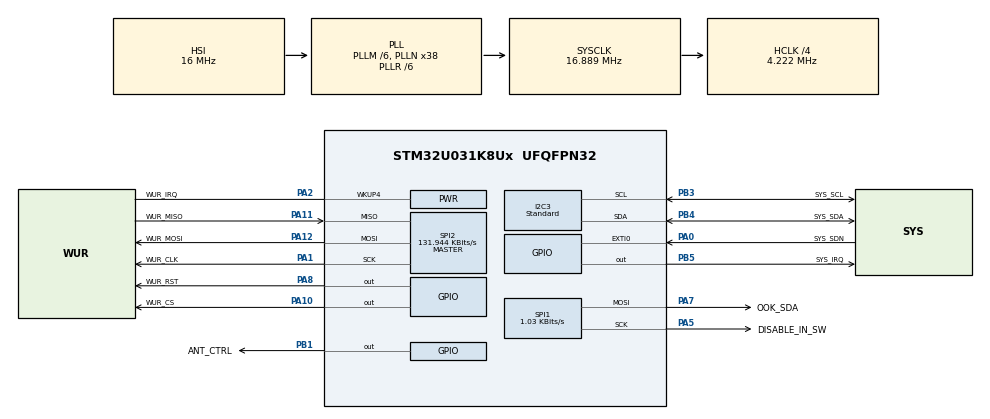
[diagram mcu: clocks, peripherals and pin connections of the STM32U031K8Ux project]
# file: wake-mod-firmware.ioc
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Dma.Request0=SPI2_TX
Dma.Request1=SPI2_RX
Dma.Request2=SPI1_TX
Dma.SPI1_TX.2.Direction=DMA_MEMORY_TO_PERIPH
Dma.SPI1_TX.2.EventEnable=DISABLE
Dma.SPI1_TX.2.Instance=DMA1_Channel1
Dma.SPI1_TX.2.MemDataAlignment=DMA_MDATAALIGN_BYTE
Dma.SPI1_TX.2.MemInc=DMA_MINC_ENABLE
Dma.SPI1_TX.2.Mode=DMA_NORMAL
Dma.SPI1_TX.2.PeriphDataAlignment=DMA_PDATAALIGN_BYTE
Dma.SPI1_TX.2.PeriphInc=DMA_PINC_DISABLE
Dma.SPI1_TX.2.Polarity=HAL_DMAMUX_REQ_GEN_RISING
Dma.SPI1_TX.2.Priority=DMA_PRIORITY_LOW
Dma.SPI1_TX.2.RequestNumber=1
Dma.SPI1_TX.2.SignalID=NONE
Dma.SPI1_TX.2.SyncEnable=DISABLE
Dma.SPI1_TX.2.SyncPolarity=HAL_DMAMUX_SYNC_NO_EVENT
Dma.SPI1_TX.2.SyncRequestNumber=1
Dma.SPI1_TX.2.SyncSignalID=NONE
Dma.SPI2_RX.1.Direction=DMA_PERIPH_TO_MEMORY
Dma.SPI2_RX.1.EventEnable=DISABLE
Dma.SPI2_RX.1.Instance=DMA1_Channel2
Dma.SPI2_RX.1.MemDataAlignment=DMA_MDATAALIGN_BYTE
Dma.SPI2_RX.1.MemInc=DMA_MINC_ENABLE
Dma.SPI2_RX.1.Mode=DMA_NORMAL
Dma.SPI2_RX.1.PeriphDataAlignment=DMA_PDATAALIGN_BYTE
Dma.SPI2_RX.1.PeriphInc=DMA_PINC_DISABLE
Dma.SPI2_RX.1.Polarity=HAL_DMAMUX_REQ_GEN_RISING
Dma.SPI2_RX.1.Priority=DMA_PRIORITY_LOW
Dma.SPI2_RX.1.RequestNumber=1
Dma.SPI2_RX.1.SignalID=NONE
Dma.SPI2_RX.1.SyncEnable=DISABLE
Dma.SPI2_RX.1.SyncPolarity=HAL_DMAMUX_SYNC_NO_EVENT
Dma.SPI2_RX.1.SyncRequestNumber=1
Dma.SPI2_RX.1.SyncSignalID=NONE
Dma.SPI2_TX.0.Direction=DMA_MEMORY_TO_PERIPH
Dma.SPI2_TX.0.EventEnable=DISABLE
Dma.SPI2_TX.0.Instance=DMA1_Channel3
Dma.SPI2_TX.0.MemDataAlignment=DMA_MDATAALIGN_BYTE
Dma.SPI2_TX.0.MemInc=DMA_MINC_ENABLE
Dma.SPI2_TX.0.Mode=DMA_NORMAL
Dma.SPI2_TX.0.PeriphDataAlignment=DMA_PDATAALIGN_BYTE
Dma.SPI2_TX.0.PeriphInc=DMA_PINC_DISABLE
Dma.SPI2_TX.0.Polarity=HAL_DMAMUX_REQ_GEN_RISING
Dma.SPI2_TX.0.Priority=DMA_PRIORITY_LOW
Dma.SPI2_TX.0.RequestNumber=1
Dma.SPI2_TX.0.SignalID=NONE
Dma.SPI2_TX.0.SyncEnable=DISABLE
Dma.SPI2_TX.0.SyncPolarity=HAL_DMAMUX_SYNC_NO_EVENT
Dma.SPI2_TX.0.SyncRequestNumber=1
Dma.SPI2_TX.0.SyncSignalID=NONE
I2C3.GeneralCallMode=I2C_GENERALCALL_DISABLE
I2C3.I2C_Speed_Mode=I2C_Standard
I2C3.NoStretchMode=I2C_NOSTRETCH_DISABLE
I2C3.OwnAddress=0x2E
I2C3.Speed=100
Mcu.Family=STM32U0
Mcu.Name=STM32U031K8Ux
Mcu.Package=UFQFPN32
NVIC.DMA1_Channel1_IRQn=true\:0\:0\:false\:false\:true\:false\:true\:true
NVIC.DMA1_Channel2_3_IRQn=true\:0\:0\:false\:false\:true\:false\:true\:true
NVIC.EXTI0_1_IRQn=true\:0\:0\:false\:false\:true\:true\:true\:true
NVIC.I2C2_3_IRQn=true\:0\:0\:true\:false\:true\:true\:true\:true
NVIC.PriorityGroup=NVIC_PRIORITYGROUP_2
NVIC.SPI1_IRQn=true\:0\:0\:true\:false\:true\:true\:true\:true
NVIC.SPI2_IRQn=true\:0\:0\:true\:false\:true\:true\:true\:true
PA0-CK_IN.GPIO_Label=SYS_SDN
PA0-CK_IN.Signal=GPXTI0
PA1.GPIO_Label=WUR_CLK
PA1.Mode=Full_Duplex_Master
PA1.Signal=SPI2_SCK
PA10.GPIO_Label=WUR_CS
PA10.GPIO_PuPd=GPIO_PULLUP
PA10.PinState=GPIO_PIN_SET
PA10.Signal=GPIO_Output
PA11\ [PA9].GPIO_Label=WUR_MISO
PA11\ [PA9].Mode=Full_Duplex_Master
PA11\ [PA9].Signal=SPI2_MISO
PA12\ [PA10].GPIO_Label=WUR_MOSI
PA12\ [PA10].Mode=Full_Duplex_Master
PA12\ [PA10].Signal=SPI2_MOSI
PA13\ (SWDIO).GPIO_Label=SWDIO
PA13\ (SWDIO).Mode=Serial_Wire
PA13\ (SWDIO).Signal=DEBUG_JTMS-SWDIO
PA14\ (SWCLK).GPIO_Label=SWCLK
PA14\ (SWCLK).Mode=Serial_Wire
PA14\ (SWCLK).Signal=DEBUG_JTCK-SWCLK
PA2.GPIO_Label=WUR_IRQ
PA2.Mode=WakeUp4
PA2.Signal=PWR_WKUP4
PA5.GPIO_Label=DISABLE_IN_SW
PA5.Mode=TX_Only_Simplex_Unidirect_Master
PA5.Signal=SPI1_SCK
PA7.GPIO_Label=OOK_SDA
PA7.Mode=TX_Only_Simplex_Unidirect_Master
PA7.Signal=SPI1_MOSI
PA8.GPIO_Label=WUR_RST
PA8.GPIO_PuPd=GPIO_PULLUP
PA8.PinState=GPIO_PIN_SET
PA8.Signal=GPIO_Output
PB1.GPIO_Label=ANT_CTRL
PB1.GPIO_PuPd=GPIO_PULLDOWN
PB1.PinState=GPIO_PIN_RESET
PB1.Signal=GPIO_Output
PB3.GPIO_Label=SYS_SCL
PB3.Mode=I2C
PB3.Signal=I2C3_SCL
PB4.GPIO_Label=SYS_SDA
PB4.Mode=I2C
PB4.Signal=I2C3_SDA
PB5.GPIO_Label=SYS_IRQ
PB5.GPIO_PuPd=GPIO_PULLDOWN
PB5.Signal=GPIO_Output
ProjectManager.HeapSize=0x200
ProjectManager.StackSize=0x400
ProjectManager.TargetToolchain=CMake
RCC.ADCFreq_Value=16888888.888888888
RCC.AHBCLKDivider=RCC_SYSCLK_DIV4
RCC.AHBFreq_Value=4222222.222222222
RCC.APB1CLKDivider=RCC_HCLK_DIV16
RCC.CortexFreq_Value=4222222.222222222
RCC.HCLKFreq_Value=4222222.222222222
RCC.HSE_VALUE=4000000
RCC.HSI48_VALUE=48000000
RCC.HSI_VALUE=16000000
RCC.LSE_VALUE=32768
RCC.MSI_VALUE=4000000
RCC.PLLM=RCC_PLLM_DIV6
RCC.PLLN=38
RCC.PLLR=RCC_PLLR_DIV6
RCC.SYSCLKFreq_VALUE=16888888.888888888
RCC.SYSCLKSource=RCC_SYSCLKSOURCE_PLLCLK
RCC.VCOOutputFreq_Value=101333333.33333333
SPI1.BaudRatePrescaler=SPI_BAUDRATEPRESCALER_256
SPI1.CalculateBaudRate=1.03 KBits/s
SPI1.DataSize=SPI_DATASIZE_8BIT
SPI1.Direction=SPI_DIRECTION_2LINES
SPI1.Mode=SPI_MODE_MASTER
SPI1.NSSPMode=SPI_NSS_PULSE_DISABLE
SPI1.VirtualType=VM_MASTER
SPI2.CalculateBaudRate=131.944 KBits/s
SPI2.DataSize=SPI_DATASIZE_8BIT
SPI2.Direction=SPI_DIRECTION_2LINES
SPI2.Mode=SPI_MODE_MASTER
SPI2.NSSPMode=SPI_NSS_PULSE_DISABLE
SPI2.VirtualType=VM_MASTER
VP_PWR_VS_SECSignals.Mode=Security/Privilege
board=custom

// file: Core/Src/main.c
/* USER CODE BEGIN Header */
/**
 ******************************************************************************
 * @file           : main.c
 * @brief          : Main program body
 ******************************************************************************
 * @attention
 *
 * Copyright (c) 2025 STMicroelectronics.
 * All rights reserved.
 *
 * This software is licensed under terms that can be found in the LICENSE file
 * in the root directory of this software component.
 * If no LICENSE file comes with this software, it is provided AS-IS.
 *
 ******************************************************************************
 */
/* USER CODE END Header */
#include "main.h"

/* USER CODE BEGIN Includes */
#include "fh101rf.h"
#include "logging.h"
#include "ook.h"
#include "stm32u0xx_hal.h"
#include "stm32u0xx_hal_gpio.h"
#include "ulog.h"
#include "utils.h"
#include "lwrb/lwrb.h"
#include <string.h>
/* USER CODE END Includes */

I2C_HandleTypeDef hi2c3;

SPI_HandleTypeDef hspi1;
SPI_HandleTypeDef hspi2;
DMA_HandleTypeDef hdma_spi1_tx;
DMA_HandleTypeDef hdma_spi2_tx;
DMA_HandleTypeDef hdma_spi2_rx;

/* USER CODE BEGIN PV */
struct ook_h ook_dev;
struct fh101rf_h fh101rf_dev;

lwrb_t i2c_read_ring_buffer;
uint8_t i2c_read_ring_buffer_data[120] = { 0 }; // 10 messages of 12 bytes

volatile struct wur_irq_data last_irq_data = { 0 }; // initialize here

/* USER CODE END PV */

void SystemClock_Config(void);
static void MX_GPIO_Init(void);
static void MX_DMA_Init(void);
static void MX_I2C3_Init(void);
static void MX_SPI1_Init(void);
static void MX_SPI2_Init(void);

int main(void)
{

  /* MCU Configuration--------------------------------------------------------*/

  /* Reset of all peripherals, Initializes the Flash interface and the Systick. */
  HAL_Init();

  /* Configure the system clock */
  SystemClock_Config();

  /* USER CODE BEGIN SysInit */
  RTT_LOGGER_INIT(0, HAL_GetTick, ULOG_TRA_LEVEL);
  ULOG_DBG("Initializing WakeMod");
  /* USER CODE END SysInit */

  /* Initialize all configured peripherals */
  MX_GPIO_Init();
  MX_DMA_Init();
  MX_I2C3_Init();
  MX_SPI1_Init();
  MX_SPI2_Init();
  /* USER CODE BEGIN 2 */
  // Enable Power Clock and Backup Register access
  __HAL_RCC_PWR_CLK_ENABLE();
  HAL_PWR_EnableBkUpAccess();

  ULOG_DBG("Initialized SPIs, I2C, GPIOs and DMA");

  // Initialize ring buffer
  lwrb_init(&i2c_read_ring_buffer, i2c_read_ring_buffer_data, sizeof(i2c_read_ring_buffer_data));

  // Initialize device struct FH101RF
  fh101rf_err_t fh101rf_err = E_FH101RF_SUCCESS;
  fh101rf_dev.sleep_ms = HAL_Delay;
  fh101rf_dev.spi_read_reg = fh101rf_spi_read_reg;
  fh101rf_dev.spi_write_reg = fh101rf_spi_write_reg;
  fh101rf_dev.rst_set = fh101rf_rst_set;
  fh101rf_dev.log = driver_log;

  fh101rf_err = init_struct_fh101rf(&fh101rf_dev);
  if (fh101rf_err != E_FH101RF_SUCCESS) {
    ULOG_ERR(
        "Failed to init FH101RF struct with default configurations with %d",
        fh101rf_err);
    Error_Handler();
  }

  // Initialize OOK (driver disables SPI)
  ook_err_t ook_err = E_OOK_SUCCESS;
  ook_dev.sleep_ms = HAL_Delay;
  ook_dev.spi_write = ook_spi_write;
  ook_dev.spi_speed = ook_spi_speed;
  ook_dev.spi_enable = ook_spi_enable;
  ook_dev.log = driver_log;

  ook_err = ook_init(&ook_dev);
  if (ook_err != E_OOK_SUCCESS) {
    ULOG_ERR("Failed to init OOK device with %d", ook_err);
    Error_Handler();
  }

  ULOG_DBG("Initialized device structs with default values");

  // Load from backup registers
  read_backup_reg();

  // Check for wake up source
  ULOG_DBG("Checking wake up source");
  enum wusrc wakeup_source = check_wu_src();

  // WakeUp source if returned RESET.. check actual pin level
  if (wakeup_source == WUSRC_RST) {
    int pin_state = check_pinstate();
    if (pin_state == PINSTATE_SYS_SDN) {
      wakeup_source = WUSRC_SYS_SDN;
    } else if (pin_state == PINSTATE_WUR_IRQ) {
      wakeup_source = WUSRC_WUR_IRQ;
    }
  }

  // Handle the wakeup
  bool sys_irq = handle_wakeup(wakeup_source);

  // Enter shutdown
  goto_shutdown(sys_irq);
  /* USER CODE END 2 */

  /* Infinite loop */
  while (1) {

  }
}

void SystemClock_Config(void)
{
  RCC_OscInitTypeDef RCC_OscInitStruct = {0};
  RCC_ClkInitTypeDef RCC_ClkInitStruct = {0};

  /** Configure the main internal regulator output voltage
  */
  HAL_PWREx_ControlVoltageScaling(PWR_REGULATOR_VOLTAGE_SCALE2);

  /** Initializes the RCC Oscillators according to the specified parameters
  * in the RCC_OscInitTypeDef structure.
  */
  RCC_OscInitStruct.OscillatorType = RCC_OSCILLATORTYPE_HSI;
  RCC_OscInitStruct.HSIState = RCC_HSI_ON;
  RCC_OscInitStruct.HSICalibrationValue = RCC_HSICALIBRATION_DEFAULT;
  RCC_OscInitStruct.PLL.PLLState = RCC_PLL_ON;
  RCC_OscInitStruct.PLL.PLLSource = RCC_PLLSOURCE_HSI;
  RCC_OscInitStruct.PLL.PLLM = RCC_PLLM_DIV6;
  RCC_OscInitStruct.PLL.PLLN = 38;
  RCC_OscInitStruct.PLL.PLLP = RCC_PLLP_DIV2;
  RCC_OscInitStruct.PLL.PLLQ = RCC_PLLQ_DIV2;
  RCC_OscInitStruct.PLL.PLLR = RCC_PLLR_DIV6;
  if (HAL_RCC_OscConfig(&RCC_OscInitStruct) != HAL_OK)
  {
    Error_Handler();
  }

  /** Initializes the CPU, AHB and APB buses clocks
  */
  RCC_ClkInitStruct.ClockType = RCC_CLOCKTYPE_HCLK|RCC_CLOCKTYPE_SYSCLK
                              |RCC_CLOCKTYPE_PCLK1;
  RCC_ClkInitStruct.SYSCLKSource = RCC_SYSCLKSOURCE_PLLCLK;
  RCC_ClkInitStruct.AHBCLKDivider = RCC_SYSCLK_DIV4;
  RCC_ClkInitStruct.APB1CLKDivider = RCC_HCLK_DIV16;

  if (HAL_RCC_ClockConfig(&RCC_ClkInitStruct, FLASH_LATENCY_0) != HAL_OK)
  {
    Error_Handler();
  }
}

static void MX_I2C3_Init(void)
{

  hi2c3.Instance = I2C3;
  hi2c3.Init.Timing = 0x00000000;
  hi2c3.Init.OwnAddress1 = 92;
  hi2c3.Init.AddressingMode = I2C_ADDRESSINGMODE_7BIT;
  hi2c3.Init.DualAddressMode = I2C_DUALADDRESS_DISABLE;
  hi2c3.Init.OwnAddress2 = 0;
  hi2c3.Init.OwnAddress2Masks = I2C_OA2_NOMASK;
  hi2c3.Init.GeneralCallMode = I2C_GENERALCALL_DISABLE;
  hi2c3.Init.NoStretchMode = I2C_NOSTRETCH_DISABLE;
  if (HAL_I2C_Init(&hi2c3) != HAL_OK)
  {
    Error_Handler();
  }

  /** Configure Analogue filter
  */
  if (HAL_I2CEx_ConfigAnalogFilter(&hi2c3, I2C_ANALOGFILTER_ENABLE) != HAL_OK)
  {
    Error_Handler();
  }

  /** Configure Digital filter
  */
  if (HAL_I2CEx_ConfigDigitalFilter(&hi2c3, 0) != HAL_OK)
  {
    Error_Handler();
  }

}

static void MX_SPI1_Init(void)
{

  /* SPI1 parameter configuration*/
  hspi1.Instance = SPI1;
  hspi1.Init.Mode = SPI_MODE_MASTER;
  hspi1.Init.Direction = SPI_DIRECTION_2LINES;
  hspi1.Init.DataSize = SPI_DATASIZE_8BIT;
  hspi1.Init.CLKPolarity = SPI_POLARITY_LOW;
  hspi1.Init.CLKPhase = SPI_PHASE_1EDGE;
  hspi1.Init.NSS = SPI_NSS_SOFT;
  hspi1.Init.BaudRatePrescaler = SPI_BAUDRATEPRESCALER_256;
  hspi1.Init.FirstBit = SPI_FIRSTBIT_MSB;
  hspi1.Init.TIMode = SPI_TIMODE_DISABLE;
  hspi1.Init.CRCCalculation = SPI_CRCCALCULATION_DISABLE;
  hspi1.Init.CRCPolynomial = 7;
  hspi1.Init.CRCLength = SPI_CRC_LENGTH_DATASIZE;
  hspi1.Init.NSSPMode = SPI_NSS_PULSE_DISABLE;
  if (HAL_SPI_Init(&hspi1) != HAL_OK)
  {
    Error_Handler();
  }

}

static void MX_SPI2_Init(void)
{

  /* SPI2 parameter configuration*/
  hspi2.Instance = SPI2;
  hspi2.Init.Mode = SPI_MODE_MASTER;
  hspi2.Init.Direction = SPI_DIRECTION_2LINES;
  hspi2.Init.DataSize = SPI_DATASIZE_8BIT;
  hspi2.Init.CLKPolarity = SPI_POLARITY_LOW;
  hspi2.Init.CLKPhase = SPI_PHASE_1EDGE;
  hspi2.Init.NSS = SPI_NSS_SOFT;
  hspi2.Init.BaudRatePrescaler = SPI_BAUDRATEPRESCALER_2;
  hspi2.Init.FirstBit = SPI_FIRSTBIT_MSB;
  hspi2.Init.TIMode = SPI_TIMODE_DISABLE;
  hspi2.Init.CRCCalculation = SPI_CRCCALCULATION_DISABLE;
  hspi2.Init.CRCPolynomial = 7;
  hspi2.Init.CRCLength = SPI_CRC_LENGTH_DATASIZE;
  hspi2.Init.NSSPMode = SPI_NSS_PULSE_DISABLE;
  if (HAL_SPI_Init(&hspi2) != HAL_OK)
  {
    Error_Handler();
  }

}

static void MX_DMA_Init(void)
{

  /* DMA controller clock enable */
  __HAL_RCC_DMA1_CLK_ENABLE();

  /* DMA interrupt init */
  /* DMA1_Channel1_IRQn interrupt configuration */
  HAL_NVIC_SetPriority(DMA1_Channel1_IRQn, 0, 0);
  HAL_NVIC_EnableIRQ(DMA1_Channel1_IRQn);
  /* DMA1_Channel2_3_IRQn interrupt configuration */
  HAL_NVIC_SetPriority(DMA1_Channel2_3_IRQn, 0, 0);
  HAL_NVIC_EnableIRQ(DMA1_Channel2_3_IRQn);

}

static void MX_GPIO_Init(void)
{
  GPIO_InitTypeDef GPIO_InitStruct = {0};

  /* GPIO Ports Clock Enable */
  __HAL_RCC_GPIOC_CLK_ENABLE();
  __HAL_RCC_GPIOF_CLK_ENABLE();
  __HAL_RCC_GPIOA_CLK_ENABLE();
  __HAL_RCC_GPIOB_CLK_ENABLE();

  /*Configure GPIO pin Output Level */
  HAL_GPIO_WritePin(GPIOB, ANT_CTRL_Pin|SYS_IRQ_Pin, GPIO_PIN_RESET);

  /*Configure GPIO pin Output Level */
  HAL_GPIO_WritePin(GPIOA, WUR_RST_Pin|WUR_CS_Pin, GPIO_PIN_SET);

  /*Configure GPIO pins : PC14 PC15 */
  GPIO_InitStruct.Pin = GPIO_PIN_14|GPIO_PIN_15;
  GPIO_InitStruct.Mode = GPIO_MODE_ANALOG;
  GPIO_InitStruct.Pull = GPIO_NOPULL;
  HAL_GPIO_Init(GPIOC, &GPIO_InitStruct);

  /*Configure GPIO pins : PF2 PF3 */
  GPIO_InitStruct.Pin = GPIO_PIN_2|GPIO_PIN_3;
  GPIO_InitStruct.Mode = GPIO_MODE_ANALOG;
  GPIO_InitStruct.Pull = GPIO_NOPULL;
  HAL_GPIO_Init(GPIOF, &GPIO_InitStruct);

  /*Configure GPIO pin : SYS_SDN_Pin */
  GPIO_InitStruct.Pin = SYS_SDN_Pin;
  GPIO_InitStruct.Mode = GPIO_MODE_IT_RISING;
  GPIO_InitStruct.Pull = GPIO_NOPULL;
  HAL_GPIO_Init(SYS_SDN_GPIO_Port, &GPIO_InitStruct);

  /*Configure GPIO pins : PA3 PA4 PA6 PA9
                           PA15 */
  GPIO_InitStruct.Pin = GPIO_PIN_3|GPIO_PIN_4|GPIO_PIN_6|GPIO_PIN_9
                          |GPIO_PIN_15;
  GPIO_InitStruct.Mode = GPIO_MODE_ANALOG;
  GPIO_InitStruct.Pull = GPIO_NOPULL;
  HAL_GPIO_Init(GPIOA, &GPIO_InitStruct);

  /*Configure GPIO pins : PB0 PB6 PB7 */
  GPIO_InitStruct.Pin = GPIO_PIN_0|GPIO_PIN_6|GPIO_PIN_7;
  GPIO_InitStruct.Mode = GPIO_MODE_ANALOG;
  GPIO_InitStruct.Pull = GPIO_NOPULL;
  HAL_GPIO_Init(GPIOB, &GPIO_InitStruct);

  /*Configure GPIO pins : ANT_CTRL_Pin SYS_IRQ_Pin */
  GPIO_InitStruct.Pin = ANT_CTRL_Pin|SYS_IRQ_Pin;
  GPIO_InitStruct.Mode = GPIO_MODE_OUTPUT_PP;
  GPIO_InitStruct.Pull = GPIO_PULLDOWN;
  GPIO_InitStruct.Speed = GPIO_SPEED_FREQ_LOW;
  HAL_GPIO_Init(GPIOB, &GPIO_InitStruct);

  /*Configure GPIO pins : WUR_RST_Pin WUR_CS_Pin */
  GPIO_InitStruct.Pin = WUR_RST_Pin|WUR_CS_Pin;
  GPIO_InitStruct.Mode = GPIO_MODE_OUTPUT_PP;
  GPIO_InitStruct.Pull = GPIO_PULLUP;
  GPIO_InitStruct.Speed = GPIO_SPEED_FREQ_LOW;
  HAL_GPIO_Init(GPIOA, &GPIO_InitStruct);

  /* EXTI interrupt init*/
  HAL_NVIC_SetPriority(EXTI0_1_IRQn, 0, 0);
  HAL_NVIC_EnableIRQ(EXTI0_1_IRQn);

/* USER CODE BEGIN MX_GPIO_Init_2 */
  // Disable SYS_SDN irq here: Only enabled when wakeup source was sys_sdn
  // itself.
/* USER CODE END MX_GPIO_Init_2 */
}

void Error_Handler(void)
{
  /* USER CODE BEGIN Error_Handler_Debug */
  ULOG_ERR("Ended in Error Handler!");
  /* User can add his own implementation to report the HAL error return state
   */
  __disable_irq();
  while (1) {
  }
  /* USER CODE END Error_Handler_Debug */
}

#ifdef  USE_FULL_ASSERT
/**
  * @brief  Reports the name of the source file and the source line number
  *         where the assert_param error has occurred.
  * @param  file: pointer to the source file name
  * @param  line: assert_param error line source number
  * @retval None
  */
void assert_failed(uint8_t *file, uint32_t line)
{
  /* USER CODE BEGIN 6 */
  /* User can add his own implementation to report the file name and line
     number, ex: printf("Wrong parameters value: file %s on line %d\r\n",
     file, line) */
  /* USER CODE END 6 */
}
#endif /* USE_FULL_ASSERT */
